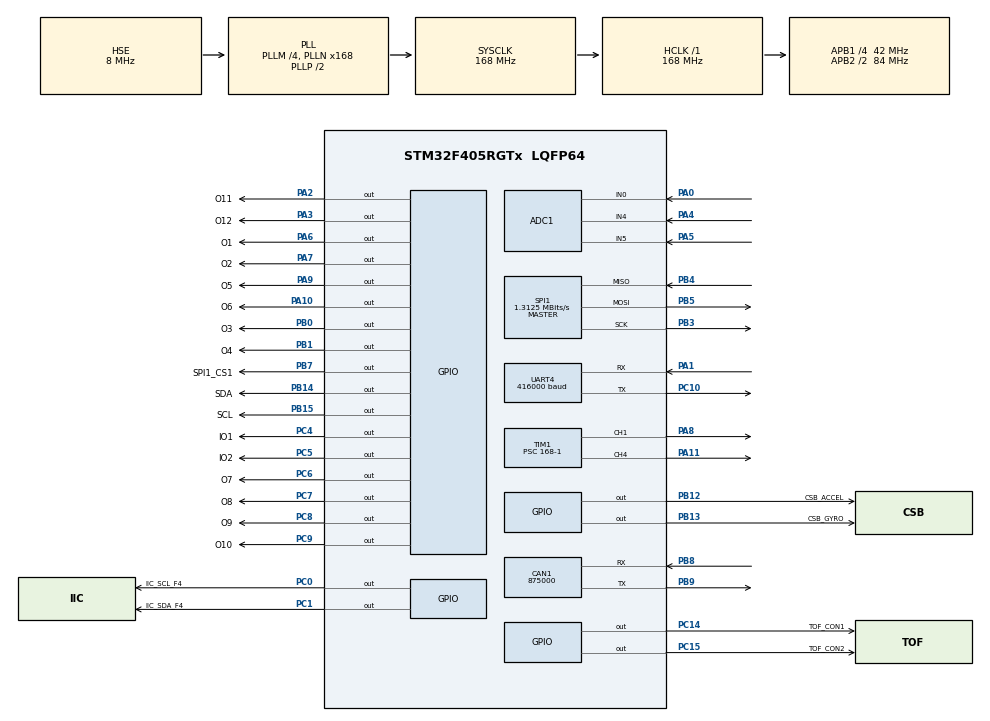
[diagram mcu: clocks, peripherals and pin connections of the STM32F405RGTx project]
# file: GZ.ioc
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ADC1.Channel-0\#ChannelRegularConversion=ADC_CHANNEL_0
ADC1.Channel-1\#ChannelRegularConversion=ADC_CHANNEL_4
ADC1.Channel-2\#ChannelRegularConversion=ADC_CHANNEL_5
ADC1.NbrOfConversion=3
ADC1.NbrOfConversionFlag=1
ADC1.Rank-0\#ChannelRegularConversion=1
ADC1.Rank-1\#ChannelRegularConversion=2
ADC1.Rank-2\#ChannelRegularConversion=3
ADC1.SamplingTime-0\#ChannelRegularConversion=ADC_SAMPLETIME_3CYCLES
ADC1.SamplingTime-1\#ChannelRegularConversion=ADC_SAMPLETIME_3CYCLES
ADC1.SamplingTime-2\#ChannelRegularConversion=ADC_SAMPLETIME_3CYCLES
ADC1.master=1
CAN1.CalculateBaudRate=875000
CAN1.CalculateTimeBit=1142
CAN1.CalculateTimeQuantum=380.95238095238096
Dma.Request0=UART4_RX
Dma.UART4_RX.0.Direction=DMA_PERIPH_TO_MEMORY
Dma.UART4_RX.0.FIFOMode=DMA_FIFOMODE_DISABLE
Dma.UART4_RX.0.Instance=DMA1_Stream2
Dma.UART4_RX.0.MemDataAlignment=DMA_MDATAALIGN_BYTE
Dma.UART4_RX.0.MemInc=DMA_MINC_ENABLE
Dma.UART4_RX.0.Mode=DMA_NORMAL
Dma.UART4_RX.0.PeriphDataAlignment=DMA_PDATAALIGN_BYTE
Dma.UART4_RX.0.PeriphInc=DMA_PINC_DISABLE
Dma.UART4_RX.0.Priority=DMA_PRIORITY_LOW
FREERTOS.Tasks01=defaultTask,0,128,StartDefaultTask,Default,NULL,Dynamic,NULL,NULL;IMU_TASK,3,128,imu_,Default,NULL,Dynamic,NULL,NULL;BARO_TASK,-3,128,baro_,Default,NULL,Dynamic,NULL,NULL;SBUS_TASK,-3,128,sbus_,Default,NULL,Dynamic,NULL,NULL;LED_TASK,-3,128,led_,Default,NULL,Dynamic,NULL,NULL;CONTROL_TASK,-3,128,control_,Default,NULL,Dynamic,NULL,NULL;RC_TASK,-3,128,rc_,Default,NULL,Dynamic,NULL,NULL
Mcu.Family=STM32F4
Mcu.Name=STM32F405RGTx
Mcu.Package=LQFP64
NVIC.DMA1_Stream2_IRQn=true\:5\:0\:false\:false\:true\:true\:false\:true\:true
NVIC.PriorityGroup=NVIC_PRIORITYGROUP_4
NVIC.TIM8_TRG_COM_TIM14_IRQn=true\:15\:0\:false\:false\:true\:false\:false\:true\:true
NVIC.TimeBase=TIM8_TRG_COM_TIM14_IRQn
NVIC.TimeBaseIP=TIM14
NVIC.UART4_IRQn=true\:5\:0\:false\:false\:true\:true\:true\:true\:true
PA0-WKUP.Signal=ADCx_IN0
PA1.Mode=Asynchronous
PA1.Signal=UART4_RX
PA10.GPIO_Label=O6
PA10.Signal=GPIO_Output
PA11.Signal=S_TIM1_CH4
PA13.Mode=Serial_Wire
PA13.Signal=SYS_JTMS-SWDIO
PA14.Mode=Serial_Wire
PA14.Signal=SYS_JTCK-SWCLK
PA2.GPIO_Label=O11
PA2.Signal=GPIO_Output
PA3.GPIO_Label=O12
PA3.Signal=GPIO_Output
PA4.Signal=ADCx_IN4
PA5.Signal=ADCx_IN5
PA6.GPIO_Label=O1
PA6.Signal=GPIO_Output
PA7.GPIO_Label=O2
PA7.Signal=GPIO_Output
PA8.Signal=S_TIM1_CH1
PA9.GPIO_Label=O5
PA9.Signal=GPIO_Output
PB0.GPIO_Label=O3
PB0.Signal=GPIO_Output
PB1.GPIO_Label=O4
PB1.Signal=GPIO_Output
PB12.GPIO_Label=CSB_ACCEL
PB12.Signal=GPIO_Output
PB13.GPIO_Label=CSB_GYRO
PB13.Signal=GPIO_Output
PB14.GPIO_Label=SDA
PB14.Signal=GPIO_Output
PB15.GPIO_Label=SCL
PB15.Signal=GPIO_Output
PB3.Mode=Full_Duplex_Master
PB3.Signal=SPI1_SCK
PB4.Mode=Full_Duplex_Master
PB4.Signal=SPI1_MISO
PB5.Mode=Full_Duplex_Master
PB5.Signal=SPI1_MOSI
PB7.GPIO_Label=SPI1_CS1
PB7.Signal=GPIO_Output
PB8.Mode=CAN_Activate
PB8.Signal=CAN1_RX
PB9.Mode=CAN_Activate
PB9.Signal=CAN1_TX
PC0.GPIO_Label=IIC_SCL_F4
PC0.GPIO_PuPd=GPIO_PULLUP
PC0.Signal=GPIO_Output
PC1.GPIO_Label=IIC_SDA_F4
PC1.GPIO_PuPd=GPIO_PULLUP
PC1.Signal=GPIO_Output
PC10.Mode=Asynchronous
PC10.Signal=UART4_TX
PC12.Signal=SPI3_MOSI
PC14-OSC32_IN.GPIO_Label=TOF_CON1
PC14-OSC32_IN.Signal=GPIO_Output
PC15-OSC32_OUT.GPIO_Label=TOF_CON2
PC15-OSC32_OUT.Signal=GPIO_Output
PC3.Signal=SPI2_MOSI
PC4.GPIO_Label=IO1
PC4.GPIO_PuPd=GPIO_PULLUP
PC4.Signal=GPIO_Output
PC5.GPIO_Label=IO2
PC5.GPIO_PuPd=GPIO_PULLUP
PC5.Signal=GPIO_Output
PC6.GPIO_Label=O7
PC6.Signal=GPIO_Output
PC7.GPIO_Label=O8
PC7.Signal=GPIO_Output
PC8.GPIO_Label=O9
PC8.Signal=GPIO_Output
PC9.GPIO_Label=O10
PC9.Signal=GPIO_Output
PH0-OSC_IN.Mode=HSE-External-Oscillator
PH0-OSC_IN.Signal=RCC_OSC_IN
PH1-OSC_OUT.Mode=HSE-External-Oscillator
PH1-OSC_OUT.Signal=RCC_OSC_OUT
ProjectManager.HeapSize=0x1000
ProjectManager.StackSize=0x1000
ProjectManager.TargetToolchain=MDK-ARM V5.32
RCC.48MHZClocksFreq_Value=84000000
RCC.AHBFreq_Value=168000000
RCC.APB1CLKDivider=RCC_HCLK_DIV4
RCC.APB1Freq_Value=42000000
RCC.APB1TimFreq_Value=84000000
RCC.APB2CLKDivider=RCC_HCLK_DIV2
RCC.APB2Freq_Value=84000000
RCC.APB2TimFreq_Value=168000000
RCC.CortexFreq_Value=168000000
RCC.HCLKFreq_Value=168000000
RCC.HSE_VALUE=8000000
RCC.HSI_VALUE=16000000
RCC.LSE_VALUE=32768
RCC.PLLM=4
RCC.PLLN=168
RCC.PLLSourceVirtual=RCC_PLLSOURCE_HSE
RCC.SYSCLKFreq_VALUE=168000000
RCC.SYSCLKSource=RCC_SYSCLKSOURCE_PLLCLK
RCC.VCOOutputFreq_Value=336000000
SH.ADCx_IN0.0=ADC1_IN0,IN0
SH.ADCx_IN4.0=ADC1_IN4,IN4
SH.ADCx_IN5.0=ADC1_IN5,IN5
SH.S_TIM1_CH1.0=TIM1_CH1,PWM Generation1 CH1
SH.S_TIM1_CH4.0=TIM1_CH4,PWM Generation4 CH4
SPI1.BaudRatePrescaler=SPI_BAUDRATEPRESCALER_64
SPI1.CalculateBaudRate=1.3125 MBits/s
SPI1.Direction=SPI_DIRECTION_2LINES
SPI1.Mode=SPI_MODE_MASTER
SPI1.VirtualType=VM_MASTER
TIM1.Channel-PWM\ Generation1\ CH1=TIM_CHANNEL_1
TIM1.Channel-PWM\ Generation4\ CH4=TIM_CHANNEL_4
TIM1.Period=1000
TIM1.Prescaler=168-1
TIM3.Period=3000-1
TIM3.Prescaler=10-1
TIM8.Period=1000-1
TIM8.Prescaler=42-1
UART4.BaudRate=416000
UART4.VirtualMode=Asynchronous
VP_FREERTOS_VS_CMSIS_V1.Mode=CMSIS_V1
VP_SYS_VS_tim14.Mode=TIM14
VP_TIM3_VS_ClockSourceINT.Mode=Internal
VP_TIM8_VS_ClockSourceINT.Mode=Internal
board=custom

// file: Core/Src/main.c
/* USER CODE BEGIN Header */
/**
  ******************************************************************************
  * @file           : main.c
  * @brief          : Main program body
  ******************************************************************************
  * @attention
  *
  * Copyright (c) 2024 STMicroelectronics.
  * All rights reserved.
  *
  * This software is licensed under terms that can be found in the LICENSE file
  * in the root directory of this software component.
  * If no LICENSE file comes with this software, it is provided AS-IS.
  *
  ******************************************************************************
  */
/* USER CODE END Header */
#include "main.h"
#include "cmsis_os.h"
#include "adc.h"
#include "can.h"
#include "dma.h"
#include "spi.h"
#include "tim.h"
#include "usart.h"
#include "gpio.h"

/* USER CODE BEGIN Includes */

#include "global.h"
/* USER CODE END Includes */

/* USER CODE BEGIN PV */
uint8_t SBUS_buff[250];
/* USER CODE END PV */

void SystemClock_Config(void);
void MX_FREERTOS_Init(void);

int main(void)
{

  /* MCU Configuration--------------------------------------------------------*/

  /* Reset of all peripherals, Initializes the Flash interface and the Systick. */
  HAL_Init();

  /* Configure the system clock */
  SystemClock_Config();

  /* Initialize all configured peripherals */
  MX_GPIO_Init();
  MX_DMA_Init();
  MX_ADC1_Init();
  MX_CAN1_Init();
  MX_SPI1_Init();
  MX_TIM1_Init();
  MX_TIM3_Init();
  MX_TIM8_Init();
  MX_UART4_Init();
  /* USER CODE BEGIN 2 */
  system_init();
	HAL_UART_Receive_DMA(&huart4,(uint8_t *)SBUS_buff,250);

  /* USER CODE END 2 */

  /* Call init function for freertos objects (in cmsis_os2.c) */
  MX_FREERTOS_Init();

  /* Start scheduler */
  osKernelStart();

  /* We should never get here as control is now taken by the scheduler */

  /* Infinite loop */
  while (1)
  {

  }
}

void SystemClock_Config(void)
{
  RCC_OscInitTypeDef RCC_OscInitStruct = {0};
  RCC_ClkInitTypeDef RCC_ClkInitStruct = {0};

  /** Configure the main internal regulator output voltage
  */
  __HAL_RCC_PWR_CLK_ENABLE();
  __HAL_PWR_VOLTAGESCALING_CONFIG(PWR_REGULATOR_VOLTAGE_SCALE1);

  /** Initializes the RCC Oscillators according to the specified parameters
  * in the RCC_OscInitTypeDef structure.
  */
  RCC_OscInitStruct.OscillatorType = RCC_OSCILLATORTYPE_HSE;
  RCC_OscInitStruct.HSEState = RCC_HSE_ON;
  RCC_OscInitStruct.PLL.PLLState = RCC_PLL_ON;
  RCC_OscInitStruct.PLL.PLLSource = RCC_PLLSOURCE_HSE;
  RCC_OscInitStruct.PLL.PLLM = 4;
  RCC_OscInitStruct.PLL.PLLN = 168;
  RCC_OscInitStruct.PLL.PLLP = RCC_PLLP_DIV2;
  RCC_OscInitStruct.PLL.PLLQ = 4;
  if (HAL_RCC_OscConfig(&RCC_OscInitStruct) != HAL_OK)
  {
    Error_Handler();
  }

  /** Initializes the CPU, AHB and APB buses clocks
  */
  RCC_ClkInitStruct.ClockType = RCC_CLOCKTYPE_HCLK|RCC_CLOCKTYPE_SYSCLK
                              |RCC_CLOCKTYPE_PCLK1|RCC_CLOCKTYPE_PCLK2;
  RCC_ClkInitStruct.SYSCLKSource = RCC_SYSCLKSOURCE_PLLCLK;
  RCC_ClkInitStruct.AHBCLKDivider = RCC_SYSCLK_DIV1;
  RCC_ClkInitStruct.APB1CLKDivider = RCC_HCLK_DIV4;
  RCC_ClkInitStruct.APB2CLKDivider = RCC_HCLK_DIV2;

  if (HAL_RCC_ClockConfig(&RCC_ClkInitStruct, FLASH_LATENCY_5) != HAL_OK)
  {
    Error_Handler();
  }
}

void HAL_TIM_PeriodElapsedCallback(TIM_HandleTypeDef *htim)
{
  if (htim->Instance == TIM14) {
    HAL_IncTick();
  }
}

void Error_Handler(void)
{
  __disable_irq();
  while (1)
  {
  }
}

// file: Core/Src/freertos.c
/* USER CODE BEGIN Header */
/**
  ******************************************************************************
  * File Name          : freertos.c
  * Description        : Code for freertos applications
  ******************************************************************************
  * @attention
  *
  * Copyright (c) 2024 STMicroelectronics.
  * All rights reserved.
  *
  * This software is licensed under terms that can be found in the LICENSE file
  * in the root directory of this software component.
  * If no LICENSE file comes with this software, it is provided AS-IS.
  *
  ******************************************************************************
  */
/* USER CODE END Header */

#include "FreeRTOS.h"
#include "task.h"
#include "main.h"
#include "cmsis_os.h"

osThreadId defaultTaskHandle;
osThreadId IMU_TASKHandle;
osThreadId BARO_TASKHandle;
osThreadId SBUS_TASKHandle;
osThreadId LED_TASKHandle;
osThreadId CONTROL_TASKHandle;
osThreadId RC_TASKHandle;

void StartDefaultTask(void const * argument);
void imu_(void const * argument);
void baro_(void const * argument);
void sbus_(void const * argument);
void led_(void const * argument);
void control_(void const * argument);
void rc_(void const * argument);

void MX_FREERTOS_Init(void); /* (MISRA C 2004 rule 8.1) */

/* GetIdleTaskMemory prototype (linked to static allocation support) */
void vApplicationGetIdleTaskMemory( StaticTask_t **ppxIdleTaskTCBBuffer, StackType_t **ppxIdleTaskStackBuffer, uint32_t *pulIdleTaskStackSize );

/* USER CODE BEGIN GET_IDLE_TASK_MEMORY */
static StaticTask_t xIdleTaskTCBBuffer;
static StackType_t xIdleStack[configMINIMAL_STACK_SIZE];

void vApplicationGetIdleTaskMemory( StaticTask_t **ppxIdleTaskTCBBuffer, StackType_t **ppxIdleTaskStackBuffer, uint32_t *pulIdleTaskStackSize )
{
  *ppxIdleTaskTCBBuffer = &xIdleTaskTCBBuffer;
  *ppxIdleTaskStackBuffer = &xIdleStack[0];
  *pulIdleTaskStackSize = configMINIMAL_STACK_SIZE;
  /* place for user code */
}
/* USER CODE END GET_IDLE_TASK_MEMORY */

void MX_FREERTOS_Init(void) {

  /* Create the thread(s) */
  /* definition and creation of defaultTask */
  osThreadDef(defaultTask, StartDefaultTask, osPriorityNormal, 0, 128);
  defaultTaskHandle = osThreadCreate(osThread(defaultTask), NULL);

  /* definition and creation of IMU_TASK */
  osThreadDef(IMU_TASK, imu_, osPriorityRealtime, 0, 128);
  IMU_TASKHandle = osThreadCreate(osThread(IMU_TASK), NULL);

  /* definition and creation of BARO_TASK */
  osThreadDef(BARO_TASK, baro_, osPriorityIdle, 0, 128);
  BARO_TASKHandle = osThreadCreate(osThread(BARO_TASK), NULL);

  /* definition and creation of SBUS_TASK */
  osThreadDef(SBUS_TASK, sbus_, osPriorityIdle, 0, 128);
  SBUS_TASKHandle = osThreadCreate(osThread(SBUS_TASK), NULL);

  /* definition and creation of LED_TASK */
  osThreadDef(LED_TASK, led_, osPriorityIdle, 0, 128);
  LED_TASKHandle = osThreadCreate(osThread(LED_TASK), NULL);

  /* definition and creation of CONTROL_TASK */
  osThreadDef(CONTROL_TASK, control_, osPriorityIdle, 0, 128);
  CONTROL_TASKHandle = osThreadCreate(osThread(CONTROL_TASK), NULL);

  /* definition and creation of RC_TASK */
  osThreadDef(RC_TASK, rc_, osPriorityIdle, 0, 128);
  RC_TASKHandle = osThreadCreate(osThread(RC_TASK), NULL);

}

void StartDefaultTask(void const * argument)
{
  for(;;)
  {
    osDelay(1);
  }
}

void imu_(void const * argument)
{
  /* USER CODE BEGIN imu_ */
  /* Infinite loop */
  for(;;)
  {
	process_bmi088_data();
	IMU_Update_Mahony(&imu_bmi088_data, 0.002f);//�ں��ϲ������̬

    osDelay(1);
  }
  /* USER CODE END imu_ */
}

void baro_(void const * argument)
{
  /* USER CODE BEGIN baro_ */
  /* Infinite loop */
  for(;;)
  {
	Baro.Org_Alt=SPL06_Get_Altitude();
	TASK_QMC5883L();
    osDelay(100);
  }
  /* USER CODE END baro_ */
}

void sbus_(void const * argument)
{
  /* USER CODE BEGIN sbus_ */
  /* Infinite loop */
  for(;;)
  {
    osDelay(10);
  }
  /* USER CODE END sbus_ */
}

void led_(void const * argument)
{
  /* USER CODE BEGIN led_ */
  /* Infinite loop */
  for(;;)
  {
//	static bool is = true;
//	  if(is)
//	  {
//		__HAL_TIM_SET_COMPARE(&htim1, TIM_CHANNEL_4, 1000);
//		  is = false;
//	  }else
//	  {
//	   __HAL_TIM_SET_COMPARE(&htim1, TIM_CHANNEL_4, 0);
//			is = true;
//	  }

	LED_Run();
    osDelay(20);
  }
  /* USER CODE END led_ */
}

void control_(void const * argument)
{
  /* USER CODE BEGIN control_ */
  /* Infinite loop */
  for(;;)
  {
 tense_update();
//	demo_vis();
	osDelay(2);
  }
  /* USER CODE END control_ */
}

void rc_(void const * argument)
{
  /* USER CODE BEGIN rc_ */
  /* Infinite loop */
  for(;;)
  {
	//FrSky_INFO_Handle();
    osDelay(50);
  }
  /* USER CODE END rc_ */
}
